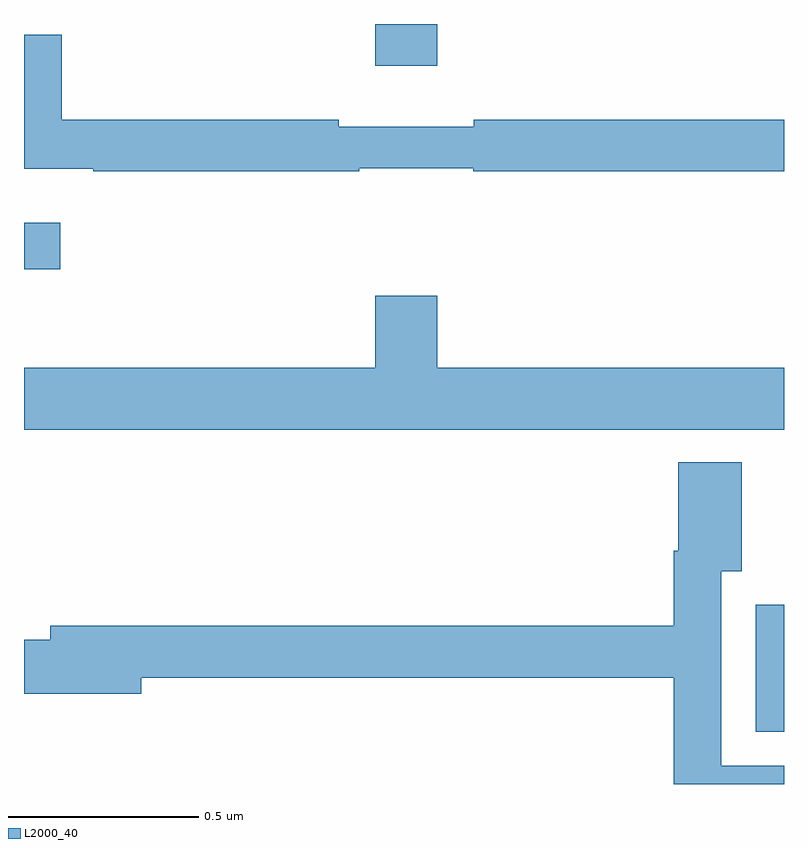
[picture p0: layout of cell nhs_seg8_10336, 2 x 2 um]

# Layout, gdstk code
import gdstk
lib = gdstk.Library(unit=1e-6, precision=1e-09)
def R(c, l, rs):  # rectangles x0, y0, x1, y1
    for r in rs: c.add(gdstk.rectangle(r[:2], r[2:], *l))
def P(c, l, *ps):  # polygons
    for p in ps: c.add(gdstk.Polygon(p, *l))
L2000_40 = (2000, 40)

nhs_seg8_10336 = lib.new_cell('nhs_seg8_10336')
R(nhs_seg8_10336, L2000_40, [(249.926,1117.037,250,1117.372), (248,1118.255,248.095,1118.377), (248.924,1118.79,249.088,1118.9)])
P(nhs_seg8_10336, L2000_40, [(248.882,1118.52),(249.182,1118.52),(249.182,1118.512),(250,1118.512),(250,1118.648),(249.184,1118.648),(249.184,1118.629),(248.828,1118.629),(248.828,1118.648),(248.099,1118.648),(248.099,1118.872),(248,1118.872),(248,1118.519),(248.182,1118.519),(248.182,1118.512),(248.882,1118.512)],
  [(250,1117.996),(249.088,1117.996),(249.088,1118.185),(248.924,1118.185),(248.924,1117.996),(248,1117.996),(248,1117.832),(250,1117.832)],
  [(250,1116.948),(249.835,1116.948),(249.835,1117.46),(249.889,1117.46),(249.889,1117.747),(249.722,1117.747),(249.722,1117.514),(249.71,1117.514),(249.71,1117.316),(248.069,1117.316),(248.069,1117.28),(248,1117.28),(248,1117.138),(248.308,1117.138),(248.308,1117.18),(249.71,1117.18),(249.71,1116.9),(250,1116.9)])

lib.write_gds('nhs_seg8_10336.gds')
